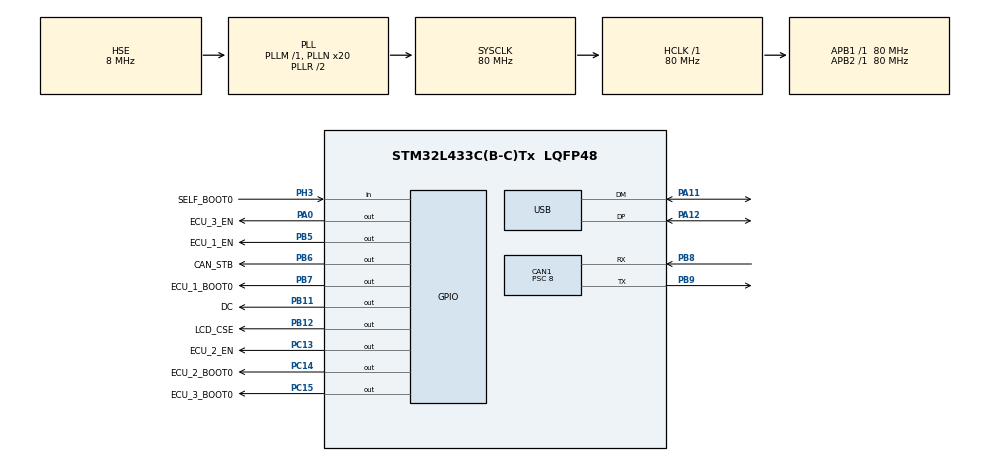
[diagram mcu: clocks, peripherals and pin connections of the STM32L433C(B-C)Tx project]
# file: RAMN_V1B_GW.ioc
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CAN1.BS1=CAN_BS1_11TQ
CAN1.BS2=CAN_BS2_8TQ
CAN1.CalculateTimeQuantum=100.0
CAN1.Mode=CAN_MODE_NORMAL
CAN1.NART=ENABLE
CAN1.Prescaler=8
CAN1.TTCM=DISABLE
FREERTOS.Queues01=queueReceiveUSB,1024,uint8_t,0,Static,queueReceiveUSBBuffer,queueReceiveUSBControlBlock;queueReceiveCAN,128,36,1,Static,queueReceiveBuffer,queueReceiveCANControlBlock;queueSendCAN,128,32,1,Static,queueSendCANBuffer,queueSendCANControlBlock
FREERTOS.Tasks01=receiveCANTask,24,2048,receiveCANFunction,Default,NULL,Static,receiveCANTaskBuffer,receiveCANTaskControlBlock;receiveUSBTask,24,2048,receiveUSBTaskFunction,Default,NULL,Static,receiveUSBTaskBuffer,receiveUSBTaskControlBlock;sendCANTask,40,1024,sendCANFunction,Default,NULL,Static,sendCANTaskBuffer,sendCANTaskControlBlock;periodicTask,40,1024,periodicTaskFunction,Default,NULL,Static,periodicTaskBuffer,periodicTaskControlBlock
FREERTOS.configTOTAL_HEAP_SIZE=10000
Mcu.Family=STM32L4
Mcu.Name=STM32L433C(B-C)Tx
Mcu.Package=LQFP48
NVIC.CAN1_RX0_IRQn=true\:5\:0\:true\:false\:true\:true\:true\:true
NVIC.CAN1_SCE_IRQn=true\:5\:0\:false\:false\:true\:true\:true\:true
NVIC.CAN1_TX_IRQn=true\:5\:0\:false\:false\:true\:true\:true\:true
NVIC.PriorityGroup=NVIC_PRIORITYGROUP_4
NVIC.RNG_IRQn=true\:5\:0\:false\:false\:true\:true\:true\:true
NVIC.TIM1_UP_TIM16_IRQn=true\:0\:0\:false\:false\:true\:false\:false\:true
NVIC.TimeBase=TIM1_UP_TIM16_IRQn
NVIC.TimeBaseIP=TIM1
NVIC.USB_IRQn=true\:6\:0\:true\:false\:true\:true\:false\:true
PA0.GPIO_Label=ECU_3_EN
PA0.Signal=GPIO_Output
PA11.Mode=Device
PA11.Signal=USB_DM
PA12.Mode=Device
PA12.Signal=USB_DP
PA13\ (JTMS-SWDIO).Mode=JTAG_5_pins
PA13\ (JTMS-SWDIO).Signal=SYS_JTMS-SWDIO
PA14\ (JTCK-SWCLK).Mode=JTAG_5_pins
PA14\ (JTCK-SWCLK).Signal=SYS_JTCK-SWCLK
PA15\ (JTDI).Mode=JTAG_5_pins
PA15\ (JTDI).Signal=SYS_JTDI
PB11.GPIO_Label=DC
PB11.Signal=GPIO_Output
PB12.GPIO_Label=LCD_CSE
PB12.Signal=GPIO_Output
PB13.Signal=SPI2_SCK
PB3\ (JTDO-TRACESWO).Mode=JTAG_5_pins
PB3\ (JTDO-TRACESWO).Signal=SYS_JTDO-SWO
PB4\ (NJTRST).Mode=JTAG_5_pins
PB4\ (NJTRST).Signal=SYS_JTRST
PB5.GPIO_Label=ECU_1_EN
PB5.Signal=GPIO_Output
PB6.GPIO_Label=CAN_STB
PB6.Signal=GPIO_Output
PB7.GPIO_Label=ECU_1_BOOT0
PB7.Signal=GPIO_Output
PB8.Mode=Master
PB8.Signal=CAN1_RX
PB9.Mode=Master
PB9.Signal=CAN1_TX
PC13.GPIO_Label=ECU_2_EN
PC13.Signal=GPIO_Output
PC14-OSC32_IN\ (PC14).GPIO_Label=ECU_2_BOOT0
PC14-OSC32_IN\ (PC14).Signal=GPIO_Output
PC15-OSC32_OUT\ (PC15).GPIO_Label=ECU_3_BOOT0
PC15-OSC32_OUT\ (PC15).Signal=GPIO_Output
PH0-OSC_IN\ (PH0).Mode=HSE-External-Oscillator
PH0-OSC_IN\ (PH0).Signal=RCC_OSC_IN
PH1-OSC_OUT\ (PH1).Mode=HSE-External-Oscillator
PH1-OSC_OUT\ (PH1).Signal=RCC_OSC_OUT
PH3-BOOT0.GPIO_Label=SELF_BOOT0
PH3-BOOT0.Signal=GPIO_Input
ProjectManager.HeapSize=0x200
ProjectManager.StackSize=0x400
ProjectManager.TargetToolchain=STM32CubeIDE
RCC.ADCFreq_Value=48000000
RCC.AHBFreq_Value=80000000
RCC.APB1Freq_Value=80000000
RCC.APB1TimFreq_Value=80000000
RCC.APB2Freq_Value=80000000
RCC.APB2TimFreq_Value=80000000
RCC.CortexFreq_Value=80000000
RCC.HCLKFreq_Value=80000000
RCC.HSE_VALUE=8000000
RCC.HSI48_VALUE=48000000
RCC.HSICalibrationValue=16
RCC.HSI_VALUE=16000000
RCC.LSE_VALUE=32768
RCC.MSI_VALUE=4000000
RCC.PLLN=20
RCC.PLLSAI1N=12
RCC.PLLSourceVirtual=RCC_PLLSOURCE_HSE
RCC.SYSCLKFreq_VALUE=80000000
RCC.SYSCLKSource=RCC_SYSCLKSOURCE_PLLCLK
RCC.USBFreq_Value=48000000
RCC.VCOOutputFreq_Value=160000000
USB.low_power_enable=DISABLE
USB_DEVICE.CLASS_NAME_FS=CDC
USB_DEVICE.VirtualMode=Cdc
USB_DEVICE.VirtualModeFS=Cdc_FS
VP_FREERTOS_VS_CMSIS_V2.Mode=CMSIS_V2
VP_RNG_VS_RNG.Mode=RNG_Activate
VP_SYS_VS_tim1.Mode=TIM1
VP_USB_DEVICE_VS_USB_DEVICE_CDC_FS.Mode=CDC_FS
board=custom

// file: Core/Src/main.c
/* USER CODE BEGIN Header */
/**
 ******************************************************************************
 * @file           : main.c
 * @brief          : Main program body
 ******************************************************************************
 * @attention
 *
 * <h2><center>&copy; Copyright (c) 2020 STMicroelectronics.
 * All rights reserved.</center></h2>
 * <h2><center>&copy; Copyright (c) 2020 TOYOTA MOTOR CORPORATION.
 * ALL RIGHTS RESERVED.</center></h2>

 * This software component is licensed by ST under BSD 3-Clause license,
 * the "License"; You may not use this file except in compliance with the
 * License. You may obtain a copy of the License at:
 *                        opensource.org/licenses/BSD-3-Clause
 *
 ******************************************************************************
 */
/* USER CODE END Header */

#include "main.h"
#include "cmsis_os.h"
#include "usb_device.h"

/* USER CODE BEGIN Includes */
#include "usbd_cdc_if.h"
#include <sys/_stdint.h>
#include "task.h"
#include "usbd_cdc.h"
#include "usb_device.h"
/* USER CODE END Includes */

typedef StaticTask_t osStaticThreadDef_t;
typedef StaticQueue_t osStaticMessageQDef_t;
/* USER CODE BEGIN PTD */

typedef struct{
	CAN_RxHeaderTypeDef RxHeader;
	uint8_t data[8];
} rx_msg_t;

typedef struct{
	CAN_TxHeaderTypeDef TxHeader;
	uint8_t data[8];
} tx_msg_t;

/* USER CODE END PTD */

CAN_HandleTypeDef hcan1;

RNG_HandleTypeDef hrng;

/* Definitions for receiveCANTask */
osThreadId_t receiveCANTaskHandle;
uint32_t receiveCANTaskBuffer[ 2048 ];
osStaticThreadDef_t receiveCANTaskControlBlock;
const osThreadAttr_t receiveCANTask_attributes = {
		.name = "receiveCANTask",
		.stack_mem = &receiveCANTaskBuffer[0],
		.stack_size = sizeof(receiveCANTaskBuffer),
		.cb_mem = &receiveCANTaskControlBlock,
		.cb_size = sizeof(receiveCANTaskControlBlock),
		.priority = (osPriority_t) osPriorityNormal,
};
/* Definitions for receiveUSBTask */
osThreadId_t receiveUSBTaskHandle;
uint32_t receiveUSBTaskBuffer[ 2048 ];
osStaticThreadDef_t receiveUSBTaskControlBlock;
const osThreadAttr_t receiveUSBTask_attributes = {
		.name = "receiveUSBTask",
		.stack_mem = &receiveUSBTaskBuffer[0],
		.stack_size = sizeof(receiveUSBTaskBuffer),
		.cb_mem = &receiveUSBTaskControlBlock,
		.cb_size = sizeof(receiveUSBTaskControlBlock),
		.priority = (osPriority_t) osPriorityNormal,
};
/* Definitions for sendCANTask */
osThreadId_t sendCANTaskHandle;
uint32_t sendCANTaskBuffer[ 1024 ];
osStaticThreadDef_t sendCANTaskControlBlock;
const osThreadAttr_t sendCANTask_attributes = {
		.name = "sendCANTask",
		.stack_mem = &sendCANTaskBuffer[0],
		.stack_size = sizeof(sendCANTaskBuffer),
		.cb_mem = &sendCANTaskControlBlock,
		.cb_size = sizeof(sendCANTaskControlBlock),
		.priority = (osPriority_t) osPriorityHigh,
};
/* Definitions for periodicTask */
osThreadId_t periodicTaskHandle;
uint32_t periodicTaskBuffer[ 1024 ];
osStaticThreadDef_t periodicTaskControlBlock;
const osThreadAttr_t periodicTask_attributes = {
		.name = "periodicTask",
		.stack_mem = &periodicTaskBuffer[0],
		.stack_size = sizeof(periodicTaskBuffer),
		.cb_mem = &periodicTaskControlBlock,
		.cb_size = sizeof(periodicTaskControlBlock),
		.priority = (osPriority_t) osPriorityHigh,
};
/* Definitions for queueReceiveUSB */
osMessageQueueId_t queueReceiveUSBHandle;
uint8_t queueReceiveUSBBuffer[ 1024 * sizeof( uint8_t ) ];
osStaticMessageQDef_t queueReceiveUSBControlBlock;
const osMessageQueueAttr_t queueReceiveUSB_attributes = {
		.name = "queueReceiveUSB",
		.cb_mem = &queueReceiveUSBControlBlock,
		.cb_size = sizeof(queueReceiveUSBControlBlock),
		.mq_mem = &queueReceiveUSBBuffer,
		.mq_size = sizeof(queueReceiveUSBBuffer)
};
/* Definitions for queueReceiveCAN */
osMessageQueueId_t queueReceiveCANHandle;
uint8_t queueReceiveBuffer[ 128 * 36 ];
osStaticMessageQDef_t queueReceiveCANControlBlock;
const osMessageQueueAttr_t queueReceiveCAN_attributes = {
		.name = "queueReceiveCAN",
		.cb_mem = &queueReceiveCANControlBlock,
		.cb_size = sizeof(queueReceiveCANControlBlock),
		.mq_mem = &queueReceiveBuffer,
		.mq_size = sizeof(queueReceiveBuffer)
};
/* Definitions for queueSendCAN */
osMessageQueueId_t queueSendCANHandle;
uint8_t queueSendCANBuffer[ 128 * 32 ];
osStaticMessageQDef_t queueSendCANControlBlock;
const osMessageQueueAttr_t queueSendCAN_attributes = {
		.name = "queueSendCAN",
		.cb_mem = &queueSendCANControlBlock,
		.cb_size = sizeof(queueSendCANControlBlock),
		.mq_mem = &queueSendCANBuffer,
		.mq_size = sizeof(queueSendCANBuffer)
};
/* USER CODE BEGIN PV */
CAN_FilterTypeDef  sFilterConfig;

CAN_RxHeaderTypeDef   RxHeader;
uint8_t               RxData[8];
uint32_t              TxMailbox;
#define USB_RECV_BUFFER_SIZE 128
#define USB_SEND_BUFFER_SIZE 128
uint8_t usb_receive_buffer[USB_RECV_BUFFER_SIZE+1];
uint8_t usb_send_buffer[USB_SEND_BUFFER_SIZE+1];
uint8_t receivedBootResponse = 0;

uint8_t CANRxOverflow = 0;
uint8_t selectedBaudrate = 6;

uint8_t slcan_open = 0;
uint8_t carla_active = 0;
uint8_t programming_mode = 0;

tx_msg_t msg1A; //brake
tx_msg_t msg2F; //accel
tx_msg_t msg43; //rpm
tx_msg_t msg58; //steer
tx_msg_t msg6D; //shift
tx_msg_t msgA2; //horn
tx_msg_t msg1C9; //brake
uint16_t lastreadcounter = 0;
uint16_t lastreadcounter_50ms = 0;
uint32_t periodic_counter = 0;
uint32_t periodic_counter50ms = 0;

uint16_t ramn_brake;
uint16_t ramn_accel;
uint16_t ramn_steer;
uint8_t ramn_shift;
uint8_t ramn_horn;
uint8_t ramn_handbrake;

#define NUMBER_OF_PERIODIC_MSG 7
tx_msg_t* periodic_msgs[] = {&msg1A,&msg2F,&msg43,&msg58,&msg6D,&msgA2,&msg1C9};

const uint16_t periodic_msg_ids[NUMBER_OF_PERIODIC_MSG] = {0x1A,0x2F,0x43,0x58,0x6D,0xA2,0x1C9};
uint32_t periodic_msg_random[NUMBER_OF_PERIODIC_MSG] =  {0};
uint32_t rng_counter = 0;

//copied from https://community.st.com/s/question/0D50X00009XkeeW/stm32l476rg-jump-to-bootloader-from-software
typedef void (*pFunction)(void);
pFunction JumpToApplication;
uint32_t JumpAddress;

/* USER CODE END PV */

void SystemClock_Config(void);
static void MX_GPIO_Init(void);
static void MX_CAN1_Init(void);
static void MX_RNG_Init(void);
void receiveCANFunction(void *argument);
void receiveUSBTaskFunction(void *argument);
void sendCANFunction(void *argument);
void periodicTaskFunction(void *argument);

/* USER CODE BEGIN 0 */

// mapping of ASCII characters to hex values
const uint8_t ascii_hashmap[] =
{
		0x00, 0x00, 0x00, 0x00, 0x00, 0x00, 0x00, 0x00, // ........
		0x00, 0x00, 0x00, 0x00, 0x00, 0x00, 0x00, 0x00, // ........
		0x00, 0x00, 0x00, 0x00, 0x00, 0x00, 0x00, 0x00, // ........
		0x00, 0x00, 0x00, 0x00, 0x00, 0x00, 0x00, 0x00, // ........
		0x00, 0x00, 0x00, 0x00, 0x00, 0x00, 0x00, 0x00, //  !"#$%&'
		0x00, 0x00, 0x00, 0x00, 0x00, 0x00, 0x00, 0x00, // ()*+,-./
		0x00, 0x01, 0x02, 0x03, 0x04, 0x05, 0x06, 0x07, // 01234567
		0x08, 0x09, 0x00, 0x00, 0x00, 0x00, 0x00, 0x00, // 89:;<=>?
		0x00, 0x0a, 0x0b, 0x0c, 0x0d, 0x0e, 0x0f, 0x00, // @ABCDEFG
		0x00, 0x00, 0x00, 0x00, 0x00, 0x00, 0x00, 0x00, // HIJKLMNO
		0x00, 0x00, 0x00, 0x00, 0x00, 0x00, 0x00, 0x00, // PQRSTUVW
		0x00, 0x00, 0x00, 0x00, 0x00, 0x00, 0x00, 0x00, // XYZ[\]^_
		0x00, 0x0a, 0x0b, 0x0c, 0x0d, 0x0e, 0x0f, 0x00, // `abcdefg
		0x00, 0x00, 0x00, 0x00, 0x00, 0x00, 0x00, 0x00, // hijklmno
		0x00, 0x00, 0x00, 0x00, 0x00, 0x00, 0x00, 0x00, // pqrstuvw
		0x00, 0x00, 0x00, 0x00, 0x00, 0x00, 0x00, 0x00, // xyz{|}~.
		0x00, 0x00, 0x00, 0x00, 0x00, 0x00, 0x00, 0x00, // ........
		0x00, 0x00, 0x00, 0x00, 0x00, 0x00, 0x00, 0x00, // ........
		0x00, 0x00, 0x00, 0x00, 0x00, 0x00, 0x00, 0x00, // ........
		0x00, 0x00, 0x00, 0x00, 0x00, 0x00, 0x00, 0x00, // ........
		0x00, 0x00, 0x00, 0x00, 0x00, 0x00, 0x00, 0x00, // ........
		0x00, 0x00, 0x00, 0x00, 0x00, 0x00, 0x00, 0x00, // ........
		0x00, 0x00, 0x00, 0x00, 0x00, 0x00, 0x00, 0x00, // ........
		0x00, 0x00, 0x00, 0x00, 0x00, 0x00, 0x00, 0x00, // ........
		0x00, 0x00, 0x00, 0x00, 0x00, 0x00, 0x00, 0x00, // ........
		0x00, 0x00, 0x00, 0x00, 0x00, 0x00, 0x00, 0x00, // ........
		0x00, 0x00, 0x00, 0x00, 0x00, 0x00, 0x00, 0x00, // ........
		0x00, 0x00, 0x00, 0x00, 0x00, 0x00, 0x00, 0x00, // ........
		0x00, 0x00, 0x00, 0x00, 0x00, 0x00, 0x00, 0x00, // ........
		0x00, 0x00, 0x00, 0x00, 0x00, 0x00, 0x00, 0x00, // ........
		0x00, 0x00, 0x00, 0x00, 0x00, 0x00, 0x00, 0x00, // ........
		0x00, 0x00, 0x00, 0x00, 0x00, 0x00, 0x00, 0x00  // ........
};

const uint8_t nibble_to_ascii[] =
{
		'0','1','2','3','4','5','6','7','8','9','A','B','C','D','E','F'
};

void resetCAN()
{
	CANRxOverflow = 0;
	//Update CAN adapter with new baudrate settings
	if (HAL_CAN_Init(&hcan1) != HAL_OK)
	{
		Error_Handler();
	}
	if (HAL_CAN_ConfigFilter(&hcan1, &sFilterConfig) != HAL_OK)
	{
		/* Filter configuration Error */
		Error_Handler();
	}

	/*##-3- Start the CAN peripheral ###########################################*/
	if (HAL_CAN_Start(&hcan1) != HAL_OK)
	{
		/* Start Error */
		Error_Handler();
	}

	/*##-4- Activate CAN RX notification #######################################*/
	if (HAL_CAN_ActivateNotification(&hcan1, CAN_IT_RX_FIFO0_MSG_PENDING) != HAL_OK)
	{
		/* Notification Error */
		Error_Handler();
	}

	//Activate Error Notification
	if (HAL_CAN_ActivateNotification(&hcan1,  CAN_IT_RX_FIFO0_OVERRUN) != HAL_OK)
	{
		/* Notification Error */
		Error_Handler();
	}

	//Activate Transmit Complete Notification

	if (HAL_CAN_ActivateNotification(&hcan1, CAN_IT_TX_MAILBOX_EMPTY) != HAL_OK)
	{
		/* Notification Error */
		Error_Handler();
	}

}

void updateCANBaudrate(uint8_t val)
{
	switch(val)
	{
	case 0:
		hcan1.Init.Prescaler = 400; // 10k
		break;
	case 1:
		hcan1.Init.Prescaler = 200; // 20k
		break;
	case 2:
		hcan1.Init.Prescaler = 80; // 50k
		break;
	case 3:
		hcan1.Init.Prescaler = 40; // 100k
		break;
	case 4:
		hcan1.Init.Prescaler = 32; // 125k
		break;
	case 5:
		hcan1.Init.Prescaler = 16; // 250k
		break;
	case 6:
		hcan1.Init.Prescaler = 8; // 500k
		break;
	case 7:
		hcan1.Init.Prescaler = 5; // 800k
		break;
	case 8:
		hcan1.Init.Prescaler = 4; // 1MHz
		break;
	default:
		//keep 32 divider (125k, same as STM32 CAN Bootloader) as default
		hcan1.Init.Prescaler = 32;
		break;
	}
	resetCAN();
}
/* USER CODE END 0 */

int main(void)
{

	/* MCU Configuration--------------------------------------------------------*/

	/* Reset of all peripherals, Initializes the Flash interface and the Systick. */
	HAL_Init();

	/* Configure the system clock */
	SystemClock_Config();

	/* Initialize all configured peripherals */
	MX_GPIO_Init();
	MX_CAN1_Init();
	MX_RNG_Init();
	/* USER CODE BEGIN 2 */

	//set the ID to 0 to prevent thread from sending them
	for(uint8_t i = 0; i < NUMBER_OF_PERIODIC_MSG; i++)
	{
		//periodic_msgs[i]->TxHeader.StdId = 0;
		periodic_msgs[i]->TxHeader.StdId = periodic_msg_ids[i];
		periodic_msgs[i]->TxHeader.ExtId = 0x00;
		periodic_msgs[i]->TxHeader.RTR = CAN_RTR_DATA;
		periodic_msgs[i]->TxHeader.IDE = CAN_ID_STD;
		periodic_msgs[i]->TxHeader.DLC = 8;
		memset(periodic_msgs[i]->data,0,8);
		periodic_msgs[i]->TxHeader.TransmitGlobalTime = DISABLE;
	}
	//Set B00T0 to 0 (i.e. let it boot from flash memory)
	HAL_GPIO_WritePin(ECU_1_BOOT0_GPIO_Port, ECU_1_BOOT0_Pin,GPIO_PIN_RESET);
	HAL_GPIO_WritePin(ECU_2_BOOT0_GPIO_Port, ECU_2_BOOT0_Pin,GPIO_PIN_RESET);
	HAL_GPIO_WritePin(ECU_3_BOOT0_GPIO_Port, ECU_3_BOOT0_Pin,GPIO_PIN_RESET);

	//Enable the power supplies of the other ECUs
	//(Voltage >1.2V to enable)
	HAL_GPIO_WritePin(ECU_1_EN_GPIO_Port, ECU_1_EN_Pin,GPIO_PIN_SET);
	HAL_GPIO_WritePin(ECU_2_EN_GPIO_Port, ECU_2_EN_Pin,GPIO_PIN_SET);
	HAL_GPIO_WritePin(ECU_3_EN_GPIO_Port, ECU_3_EN_Pin,GPIO_PIN_SET);

	// Pull STBY line of CAN transceiver low (high = transceiver OFF)
	HAL_GPIO_WritePin(CAN_STB_GPIO_Port, CAN_STB_Pin, GPIO_PIN_RESET);

	/* USER CODE END 2 */

	/* Init scheduler */
	osKernelInitialize();

	/* Create the queue(s) */
	/* creation of queueReceiveUSB */
	queueReceiveUSBHandle = osMessageQueueNew (1024, sizeof(uint8_t), &queueReceiveUSB_attributes);

	/* creation of queueReceiveCAN */
	queueReceiveCANHandle = osMessageQueueNew (128, 36, &queueReceiveCAN_attributes);

	/* creation of queueSendCAN */
	queueSendCANHandle = osMessageQueueNew (128, 32, &queueSendCAN_attributes);

	/* USER CODE BEGIN RTOS_QUEUES */
	USBD_Queue_UsbRx = queueReceiveUSBHandle;
	/* USER CODE END RTOS_QUEUES */

	/* Create the thread(s) */
	/* creation of receiveCANTask */
	receiveCANTaskHandle = osThreadNew(receiveCANFunction, NULL, &receiveCANTask_attributes);

	/* creation of receiveUSBTask */
	receiveUSBTaskHandle = osThreadNew(receiveUSBTaskFunction, NULL, &receiveUSBTask_attributes);

	/* creation of sendCANTask */
	sendCANTaskHandle = osThreadNew(sendCANFunction, NULL, &sendCANTask_attributes);

	/* creation of periodicTask */
	periodicTaskHandle = osThreadNew(periodicTaskFunction, NULL, &periodicTask_attributes);

	/* USER CODE BEGIN RTOS_THREADS */
	/* add threads, ... */
	//start first occurence of random numbers
	rng_counter = 0;
	if (HAL_RNG_GenerateRandomNumber_IT(&hrng) != HAL_OK)
	{
		/* RNG peripheral start-up error */
		Error_Handler();
	}
	/* USER CODE END RTOS_THREADS */

	/* Start scheduler */
	osKernelStart();

	/* We should never get here as control is now taken by the scheduler */
	/* Infinite loop */
	while (1)
	{

	}
}

void SystemClock_Config(void)
{
	RCC_OscInitTypeDef RCC_OscInitStruct = {0};
	RCC_ClkInitTypeDef RCC_ClkInitStruct = {0};
	RCC_PeriphCLKInitTypeDef PeriphClkInit = {0};

	/** Initializes the CPU, AHB and APB busses clocks
	 */
	RCC_OscInitStruct.OscillatorType = RCC_OSCILLATORTYPE_HSE;
	RCC_OscInitStruct.HSEState = RCC_HSE_ON;
	RCC_OscInitStruct.PLL.PLLState = RCC_PLL_ON;
	RCC_OscInitStruct.PLL.PLLSource = RCC_PLLSOURCE_HSE;
	RCC_OscInitStruct.PLL.PLLM = 1;
	RCC_OscInitStruct.PLL.PLLN = 20;
	RCC_OscInitStruct.PLL.PLLP = RCC_PLLP_DIV7;
	RCC_OscInitStruct.PLL.PLLQ = RCC_PLLQ_DIV2;
	RCC_OscInitStruct.PLL.PLLR = RCC_PLLR_DIV2;
	if (HAL_RCC_OscConfig(&RCC_OscInitStruct) != HAL_OK)
	{
		Error_Handler();
	}
	/** Initializes the CPU, AHB and APB busses clocks
	 */
	RCC_ClkInitStruct.ClockType = RCC_CLOCKTYPE_HCLK|RCC_CLOCKTYPE_SYSCLK
			|RCC_CLOCKTYPE_PCLK1|RCC_CLOCKTYPE_PCLK2;
	RCC_ClkInitStruct.SYSCLKSource = RCC_SYSCLKSOURCE_PLLCLK;
	RCC_ClkInitStruct.AHBCLKDivider = RCC_SYSCLK_DIV1;
	RCC_ClkInitStruct.APB1CLKDivider = RCC_HCLK_DIV1;
	RCC_ClkInitStruct.APB2CLKDivider = RCC_HCLK_DIV1;

	if (HAL_RCC_ClockConfig(&RCC_ClkInitStruct, FLASH_LATENCY_4) != HAL_OK)
	{
		Error_Handler();
	}
	PeriphClkInit.PeriphClockSelection = RCC_PERIPHCLK_USB|RCC_PERIPHCLK_RNG;
	PeriphClkInit.UsbClockSelection = RCC_USBCLKSOURCE_PLLSAI1;
	PeriphClkInit.RngClockSelection = RCC_RNGCLKSOURCE_PLLSAI1;
	PeriphClkInit.PLLSAI1.PLLSAI1Source = RCC_PLLSOURCE_HSE;
	PeriphClkInit.PLLSAI1.PLLSAI1M = 1;
	PeriphClkInit.PLLSAI1.PLLSAI1N = 12;
	PeriphClkInit.PLLSAI1.PLLSAI1P = RCC_PLLP_DIV7;
	PeriphClkInit.PLLSAI1.PLLSAI1Q = RCC_PLLQ_DIV2;
	PeriphClkInit.PLLSAI1.PLLSAI1R = RCC_PLLR_DIV2;
	PeriphClkInit.PLLSAI1.PLLSAI1ClockOut = RCC_PLLSAI1_48M2CLK;
	if (HAL_RCCEx_PeriphCLKConfig(&PeriphClkInit) != HAL_OK)
	{
		Error_Handler();
	}
	/** Configure the main internal regulator output voltage
	 */
	if (HAL_PWREx_ControlVoltageScaling(PWR_REGULATOR_VOLTAGE_SCALE1) != HAL_OK)
	{
		Error_Handler();
	}
}

static void MX_CAN1_Init(void)
{

	hcan1.Instance = CAN1;
	hcan1.Init.Prescaler = 8;
	hcan1.Init.Mode = CAN_MODE_NORMAL;
	hcan1.Init.SyncJumpWidth = CAN_SJW_1TQ;
	hcan1.Init.TimeSeg1 = CAN_BS1_11TQ;
	hcan1.Init.TimeSeg2 = CAN_BS2_8TQ;
	hcan1.Init.TimeTriggeredMode = DISABLE;
	hcan1.Init.AutoBusOff = DISABLE;
	hcan1.Init.AutoWakeUp = DISABLE;
	hcan1.Init.AutoRetransmission = ENABLE;
	hcan1.Init.ReceiveFifoLocked = DISABLE;
	hcan1.Init.TransmitFifoPriority = DISABLE;
	if (HAL_CAN_Init(&hcan1) != HAL_OK)
	{
		Error_Handler();
	}
	/* USER CODE BEGIN CAN1_Init 2 */
	/*##-2- Configure the CAN Filter ###########################################*/
	sFilterConfig.FilterBank = 0;
	sFilterConfig.FilterMode = CAN_FILTERMODE_IDMASK;
	sFilterConfig.FilterScale = CAN_FILTERSCALE_32BIT;
	sFilterConfig.FilterIdHigh = 0x0000;
	sFilterConfig.FilterIdLow = 0x0000;
	sFilterConfig.FilterMaskIdHigh = 0x0000;
	sFilterConfig.FilterMaskIdLow = 0x0000;
	//sFilterConfig.FilterMaskIdLow = 0xFE00; //for CARLA
	sFilterConfig.FilterFIFOAssignment = CAN_RX_FIFO0;
	sFilterConfig.FilterActivation = ENABLE;
	sFilterConfig.SlaveStartFilterBank = 14;

	resetCAN();
	/* USER CODE END CAN1_Init 2 */

}

static void MX_RNG_Init(void)
{

	hrng.Instance = RNG;
	if (HAL_RNG_Init(&hrng) != HAL_OK)
	{
		Error_Handler();
	}

}

static void MX_GPIO_Init(void)
{
	GPIO_InitTypeDef GPIO_InitStruct = {0};

	/* GPIO Ports Clock Enable */
	__HAL_RCC_GPIOC_CLK_ENABLE();
	__HAL_RCC_GPIOH_CLK_ENABLE();
	__HAL_RCC_GPIOA_CLK_ENABLE();
	__HAL_RCC_GPIOB_CLK_ENABLE();

	/*Configure GPIO pin Output Level */
	HAL_GPIO_WritePin(GPIOC, ECU_2_EN_Pin|ECU_2_BOOT0_Pin|ECU_3_BOOT0_Pin, GPIO_PIN_RESET);

	/*Configure GPIO pin Output Level */
	HAL_GPIO_WritePin(ECU_3_EN_GPIO_Port, ECU_3_EN_Pin, GPIO_PIN_RESET);

	/*Configure GPIO pin Output Level */
	HAL_GPIO_WritePin(GPIOB, DC_Pin|LCD_CSE_Pin|ECU_1_EN_Pin|CAN_STB_Pin
			|ECU_1_BOOT0_Pin, GPIO_PIN_RESET);

	/*Configure GPIO pins : ECU_2_EN_Pin ECU_2_BOOT0_Pin ECU_3_BOOT0_Pin */
	GPIO_InitStruct.Pin = ECU_2_EN_Pin|ECU_2_BOOT0_Pin|ECU_3_BOOT0_Pin;
	GPIO_InitStruct.Mode = GPIO_MODE_OUTPUT_PP;
	GPIO_InitStruct.Pull = GPIO_NOPULL;
	GPIO_InitStruct.Speed = GPIO_SPEED_FREQ_LOW;
	HAL_GPIO_Init(GPIOC, &GPIO_InitStruct);

	/*Configure GPIO pin : ECU_3_EN_Pin */
	GPIO_InitStruct.Pin = ECU_3_EN_Pin;
	GPIO_InitStruct.Mode = GPIO_MODE_OUTPUT_PP;
	GPIO_InitStruct.Pull = GPIO_NOPULL;
	GPIO_InitStruct.Speed = GPIO_SPEED_FREQ_LOW;
	HAL_GPIO_Init(ECU_3_EN_GPIO_Port, &GPIO_InitStruct);

	/*Configure GPIO pins : DC_Pin LCD_CSE_Pin ECU_1_EN_Pin CAN_STB_Pin
                           ECU_1_BOOT0_Pin */
	GPIO_InitStruct.Pin = DC_Pin|LCD_CSE_Pin|ECU_1_EN_Pin|CAN_STB_Pin
			|ECU_1_BOOT0_Pin;
	GPIO_InitStruct.Mode = GPIO_MODE_OUTPUT_PP;
	GPIO_InitStruct.Pull = GPIO_NOPULL;
	GPIO_InitStruct.Speed = GPIO_SPEED_FREQ_LOW;
	HAL_GPIO_Init(GPIOB, &GPIO_InitStruct);

	/*Configure GPIO pin : PB13 */
	GPIO_InitStruct.Pin = GPIO_PIN_13;
	GPIO_InitStruct.Mode = GPIO_MODE_AF_PP;
	GPIO_InitStruct.Pull = GPIO_NOPULL;
	GPIO_InitStruct.Speed = GPIO_SPEED_FREQ_VERY_HIGH;
	GPIO_InitStruct.Alternate = GPIO_AF5_SPI2;
	HAL_GPIO_Init(GPIOB, &GPIO_InitStruct);

	/*Configure GPIO pin : SELF_BOOT0_Pin */
	GPIO_InitStruct.Pin = SELF_BOOT0_Pin;
	GPIO_InitStruct.Mode = GPIO_MODE_INPUT;
	GPIO_InitStruct.Pull = GPIO_NOPULL;
	HAL_GPIO_Init(SELF_BOOT0_GPIO_Port, &GPIO_InitStruct);

}

/* USER CODE BEGIN 4 */
/**
 * @brief  Rx Fifo 0 message pending callback
 * @param  hcan: pointer to a CAN_HandleTypeDef structure that contains
 *         the configuration information for the specified CAN.
 * @retval None
 */
void HAL_CAN_RxFifo0MsgPendingCallback(CAN_HandleTypeDef *hcan)
{
	BaseType_t xHigherPriorityTaskWoken = pdFALSE;
	/* Get RX message */
	if (HAL_CAN_GetRxMessage(hcan, CAN_RX_FIFO0, &RxHeader, RxData) != HAL_OK)
	{
		/* Reception Error */
		Error_Handler();
	}
	rx_msg_t msg;
	msg.RxHeader = RxHeader;
	memcpy(msg.data,RxData,RxHeader.DLC);
	xQueueSendFromISR(queueReceiveCANHandle,&msg,&xHigherPriorityTaskWoken);
	portYIELD_FROM_ISR( xHigherPriorityTaskWoken );
}

void HAL_CAN_TxMailbox0CompleteCallback(CAN_HandleTypeDef *hcan)
{
	BaseType_t xHigherPriorityTaskWoken = pdFALSE;
	vTaskNotifyGiveFromISR(sendCANTaskHandle,&xHigherPriorityTaskWoken);
	portYIELD_FROM_ISR( xHigherPriorityTaskWoken );
}

void HAL_CAN_TxMailbox1CompleteCallback(CAN_HandleTypeDef *hcan)
{
	BaseType_t xHigherPriorityTaskWoken = pdFALSE;
	vTaskNotifyGiveFromISR(sendCANTaskHandle,&xHigherPriorityTaskWoken);
	portYIELD_FROM_ISR( xHigherPriorityTaskWoken );
}

void HAL_CAN_TxMailbox2CompleteCallback(CAN_HandleTypeDef *hcan)
{
	BaseType_t xHigherPriorityTaskWoken = pdFALSE;
	vTaskNotifyGiveFromISR(sendCANTaskHandle,&xHigherPriorityTaskWoken);
	portYIELD_FROM_ISR( xHigherPriorityTaskWoken );
}

void HAL_CAN_ErrorCallback(CAN_HandleTypeDef *hcan)
{
	uint32_t err = HAL_CAN_GetError(hcan);
	if ((err & (HAL_CAN_ERROR_TX_ALST0 | HAL_CAN_ERROR_TX_TERR0)) != 0)
	{
		//Error in Mailbox 0
		//HAL_CAN_AbortTxRequest(hcan,CAN_TX_MAILBOX0);
	}
	if ((err & (HAL_CAN_ERROR_TX_ALST1 | HAL_CAN_ERROR_TX_TERR1)) != 0)
	{
		//Error in Mailbox 1
		//HAL_CAN_AbortTxRequest(hcan,CAN_TX_MAILBOX1);
	}
	if ((err & (HAL_CAN_ERROR_TX_ALST2 | HAL_CAN_ERROR_TX_TERR2)) != 0)
	{
		//Error in Mailbox 2
		//HAL_CAN_AbortTxRequest(hcan,CAN_TX_MAILBOX2);
	}
	if ((err & ( HAL_CAN_ERROR_RX_FOV0)) != 0)
	{
		//Receive FIFO0  overrun
		CANRxOverflow = 1;
	}
	if ((err & ( HAL_CAN_ERROR_RX_FOV1)) != 0)
	{
		//Receive FIFO1 overrun
		//CANRxOverflow = 1;
	}
	if ((err & (HAL_CAN_ERROR_EWG|HAL_CAN_ERROR_EPV|HAL_CAN_ERROR_BOF|HAL_CAN_ERROR_STF|HAL_CAN_ERROR_FOR|HAL_CAN_ERROR_BR|HAL_CAN_ERROR_BD|HAL_CAN_ERROR_CRC)) != 0)
	{
		//Problem with frames
		//HAL_CAN_AbortTxRequest(hcan,CAN_TX_MAILBOX2);
	}
	if ((err & HAL_CAN_ERROR_ACK) != 0)
	{
		//No acknowledgement
	}
	HAL_CAN_ResetError(hcan);
}

void HAL_RNG_ReadyDataCallback(RNG_HandleTypeDef* hrng, uint32_t random32bit)
{

	/* Straight random number retrieval */

	periodic_msg_random[rng_counter] = random32bit;

	rng_counter++;

	/* HAL_RNG_IRQHandler() disables IT at each interruption,
     so, need to re-enable IT in callback to get several random numbers in a row */
	if (rng_counter < NUMBER_OF_PERIODIC_MSG)
	{
		HAL_RNG_GenerateRandomNumber_IT(hrng);
	}

}
/* USER CODE END 4 */

void receiveCANFunction(void *argument)
{
	/* init code for USB_DEVICE */
	MX_USB_DEVICE_Init();
	/* USER CODE BEGIN 5 */
	/* Infinite loop */
	for(;;)
	{
		rx_msg_t msg;
		{
			/* Get RX message */
			if (xQueueReceive(queueReceiveCANHandle,&msg,1000) == pdPASS)
			{
				switch(msg.RxHeader.StdId)
				{
				case 0x24:
					ramn_brake = (msg.data[0] << 8) + msg.data[1];
					lastreadcounter = (msg.data[2]<<8) + msg.data[3];
					break;
				case 0x39:
					ramn_accel = (msg.data[0] << 8) + msg.data[1];
					break;
				case 0x62:
					ramn_steer = (msg.data[0] << 8) + msg.data[1];
					break;
				case 0x77:
					ramn_shift = msg.data[0];
					break;
				case 0x98:
					ramn_horn = msg.data[0];
					break;
				case 0x1D3:
					ramn_handbrake = msg.data[0];
					lastreadcounter_50ms =(msg.data[2]<<8) + msg.data[3];
					break;
				}

				if (slcan_open)
				{
					//Only deal with messages with less than 8 bytes, as they should be for CAN
					if (msg.RxHeader.StdId == 0x79)
					{
						receivedBootResponse = 1;
					}
					if(msg.RxHeader.DLC <= 8)
					{
						usb_send_buffer[0] = 't';
						usb_send_buffer[1] = nibble_to_ascii[(msg.RxHeader.StdId >> 8) & 0xF];
						usb_send_buffer[2] = nibble_to_ascii[(msg.RxHeader.StdId >> 4) & 0xF];
						usb_send_buffer[3] = nibble_to_ascii[msg.RxHeader.StdId & 0xF];
						usb_send_buffer[4] = nibble_to_ascii[msg.RxHeader.DLC & 0xF];
						for(uint8_t i=0;i<msg.RxHeader.DLC;i++)
						{
							usb_send_buffer[5+2*i] = nibble_to_ascii[(msg.data[i] >> 4) & 0xF];
							usb_send_buffer[6+2*i] = nibble_to_ascii[msg.data[i] & 0xF];
						}
						usb_send_buffer[5+2*msg.RxHeader.DLC] = '\r';
						usb_send_buffer[6+2*msg.RxHeader.DLC] = '\0';

						while(CDC_Transmit_FS((uint8_t*)usb_send_buffer,6+2*msg.RxHeader.DLC) == USBD_BUSY)
						{
							taskYIELD(); // //sending over usb takes time, so yield to others
						}

					}
				}
			}

		}

	}
	/* USER CODE END 5 */
}

void receiveUSBTaskFunction(void *argument)
{
	/* USER CODE BEGIN receiveUSBTaskFunction */
	/* Infinite loop */
	uint8_t val = 0;
	uint8_t n = 0;
	uint32_t counter = 0;
	/*##-5- Configure Transmission process #####################################*/
	tx_msg_t msg;
	msg.TxHeader.StdId = 0x00;
	msg.TxHeader.ExtId = 0x00;
	msg.TxHeader.RTR = CAN_RTR_DATA;
	msg.TxHeader.IDE = CAN_ID_STD;
	msg.TxHeader.DLC = 0;
	msg.TxHeader.TransmitGlobalTime = DISABLE;

	for(;;)
	{
		if (xQueueReceive(queueReceiveUSBHandle, &val, 1000) == pdPASS)
		{
			//Process USB Message
			usb_receive_buffer[n] = val;
			if (n < USB_RECV_BUFFER_SIZE)	{
				n++;
			}
			//Wait for end of command character
			if(val == '\r')
			{
				uint8_t command = usb_receive_buffer[0];

				switch(command)
				{
				case 'r':
				case 't':
					msg.TxHeader.IDE = CAN_ID_STD;
					msg.TxHeader.DLC = (usb_receive_buffer[4] - '0');  //convert the 1 ASCII numeral to uint8_t directly
					msg.TxHeader.StdId = (ascii_hashmap[usb_receive_buffer[1]] << 8) + (ascii_hashmap[usb_receive_buffer[2]] << 4) + (ascii_hashmap[usb_receive_buffer[3]]);
					if(command == 'r')
					{
						msg.TxHeader.RTR = CAN_RTR_REMOTE;
					}
					else
					{
						msg.TxHeader.RTR = CAN_RTR_DATA;
						for(uint8_t i=0; i < (msg.TxHeader.DLC); i++)
						{
							msg.data[i] = (ascii_hashmap[usb_receive_buffer[5+(i*2)]] << 4) + (ascii_hashmap[usb_receive_buffer[6+(i*2)]]);
						}
					}
					//CDC_Transmit_FS((uint8_t*)"\r",1);

					if (xQueueSend(queueSendCANHandle,&msg,0) == pdPASS)
					{
						if(programming_mode) CDC_Transmit_FS((uint8_t*)"\r",1);
					}
					else
					{
						//queue likely full, send NACK
						//CDC_Transmit_FS((uint8_t*)"\a",1);
					}

					break;

				case 'R':
				case 'T':

					msg.TxHeader.IDE = CAN_ID_EXT;
					msg.TxHeader.DLC = (usb_receive_buffer[9] - '0');  //convert the 1 ASCII numeral to uint8_t directly
					usb_receive_buffer[9] = 0; 				       //Overwrite the dlc field by 0 to create a null-terminated CAN ID string
					//msg.TxHeader.ExtId = strtol((uint8_t*)&usb_receive_buffer[1],NULL,16);
					msg.TxHeader.ExtId = (ascii_hashmap[usb_receive_buffer[1]] << 28)  + (ascii_hashmap[usb_receive_buffer[2]] << 24) + (ascii_hashmap[usb_receive_buffer[3]] << 20)  + (ascii_hashmap[usb_receive_buffer[4]] << 16)  + (ascii_hashmap[usb_receive_buffer[5]] << 12)  + (ascii_hashmap[usb_receive_buffer[6]] << 8) + (ascii_hashmap[usb_receive_buffer[7]] << 4) + (ascii_hashmap[usb_receive_buffer[8]]);
					if(command == 'R')
					{
						msg.TxHeader.RTR = CAN_RTR_REMOTE;
					}
					else
					{
						msg.TxHeader.RTR = CAN_RTR_DATA;
						for(uint8_t i=0; i < (msg.TxHeader.DLC); i++)
						{
							msg.data[i] = (ascii_hashmap[usb_receive_buffer[10+(i*2)]] << 4) + (ascii_hashmap[usb_receive_buffer[11+(i*2)]]);
						}
					}

					if (xQueueSend(queueSendCANHandle,&msg,0) == pdPASS)
					{
						//success, send ACK
						//CDC_Transmit_FS((uint8_t*)"\r",1);
					}
					else
					{
						//queue likely full, send NACK
						//CDC_Transmit_FS((uint8_t*)"\a",1);
					}

					break;

				case 'V':
					CDC_Transmit_FS((uint8_t*)"RAMN v1.0BETA\r",14);
					break;

				case 'S':
					usb_receive_buffer[2] = 0;
					selectedBaudrate = ascii_hashmap[usb_receive_buffer[1]];
					updateCANBaudrate(selectedBaudrate);
					CDC_Transmit_FS((uint8_t*)"\r",1);
					break;

				case 'O':
					hcan1.Init.Mode = CAN_MODE_NORMAL;
					slcan_open = 1;
					resetCAN();
					CDC_Transmit_FS((uint8_t*)"\r",1);
					break;
				case 'o':
					//Command to turn off ECUs
					switch(usb_receive_buffer[1])
					{
					case 'C':
						HAL_GPIO_WritePin(ECU_2_EN_GPIO_Port, ECU_2_EN_Pin,GPIO_PIN_RESET);
						break;
					case 'D':
						HAL_GPIO_WritePin(ECU_3_EN_GPIO_Port, ECU_3_EN_Pin,GPIO_PIN_RESET);
						break;
					case 'B':
						HAL_GPIO_WritePin(ECU_1_EN_GPIO_Port, ECU_1_EN_Pin,GPIO_PIN_RESET);
						break;
					default:
						HAL_GPIO_WritePin(ECU_1_EN_GPIO_Port, ECU_1_EN_Pin,GPIO_PIN_RESET);
						HAL_GPIO_WritePin(ECU_2_EN_GPIO_Port, ECU_2_EN_Pin,GPIO_PIN_RESET);
						HAL_GPIO_WritePin(ECU_3_EN_GPIO_Port, ECU_3_EN_Pin,GPIO_PIN_RESET);
						break;
					}

					CDC_Transmit_FS((uint8_t*)"\r",1);
					break;
					case 'd':
						//Command to turn on ECU B and C only
						HAL_GPIO_WritePin(ECU_1_EN_GPIO_Port, ECU_1_EN_Pin,GPIO_PIN_SET);
						HAL_GPIO_WritePin(ECU_2_EN_GPIO_Port, ECU_2_EN_Pin,GPIO_PIN_SET);
						CDC_Transmit_FS((uint8_t*)"\r",1);
						break;
					case 'e':
						//Command to turn on specified USB
						switch(usb_receive_buffer[1])
						{
						case 'C':
							HAL_GPIO_WritePin(ECU_2_EN_GPIO_Port, ECU_2_EN_Pin,GPIO_PIN_SET);
							break;
						case 'D':
							HAL_GPIO_WritePin(ECU_3_EN_GPIO_Port, ECU_3_EN_Pin,GPIO_PIN_SET);
							break;
						case 'B':
							HAL_GPIO_WritePin(ECU_1_EN_GPIO_Port, ECU_1_EN_Pin,GPIO_PIN_SET);
							break;
						default:
							HAL_GPIO_WritePin(ECU_1_EN_GPIO_Port, ECU_1_EN_Pin,GPIO_PIN_SET);
							HAL_GPIO_WritePin(ECU_2_EN_GPIO_Port, ECU_2_EN_Pin,GPIO_PIN_SET);
							HAL_GPIO_WritePin(ECU_3_EN_GPIO_Port, ECU_3_EN_Pin,GPIO_PIN_SET);
							break;
						}

						CDC_Transmit_FS((uint8_t*)"\r",1);
						break;

						case 'L':
							CDC_Transmit_FS((uint8_t*)"\r",1);
							hcan1.Init.Mode = CAN_MODE_SILENT;
							slcan_open = 1;
							resetCAN();
							break;
						case 'c':
							CDC_Transmit_FS((uint8_t*)"\r",1);
							hcan1.Init.Mode = CAN_MODE_NORMAL;
							carla_active = 1;
							resetCAN();
							//Set counter to last read counter
							periodic_counter = lastreadcounter;
							periodic_counter50ms = lastreadcounter_50ms;
							vTaskResume(periodicTaskHandle);
							break;
						case 'u':
							//format is u<brake16><accel16><rpm16><steer16><shift8><horn8><handbrake8>
							//eg "u{:04x}{:04x}{:04x}{:04x}{:02x}{:02x}{:02x}\r"
							msg1A.data[0] = (ascii_hashmap[usb_receive_buffer[1]] << 4) + (ascii_hashmap[usb_receive_buffer[2]]);
							msg1A.data[1] = (ascii_hashmap[usb_receive_buffer[3]] << 4) + (ascii_hashmap[usb_receive_buffer[4]]);

							msg2F.data[0] = (ascii_hashmap[usb_receive_buffer[5]] << 4) + (ascii_hashmap[usb_receive_buffer[6]]);
							msg2F.data[1] = (ascii_hashmap[usb_receive_buffer[7]] << 4) + (ascii_hashmap[usb_receive_buffer[8]]);

							msg43.data[0] = (ascii_hashmap[usb_receive_buffer[9]] << 4) + (ascii_hashmap[usb_receive_buffer[10]]);
							msg43.data[1] = (ascii_hashmap[usb_receive_buffer[11]] << 4) + (ascii_hashmap[usb_receive_buffer[12]]);

							msg58.data[0] = (ascii_hashmap[usb_receive_buffer[13]] << 4) + (ascii_hashmap[usb_receive_buffer[14]]);
							msg58.data[1] = (ascii_hashmap[usb_receive_buffer[15]] << 4) + (ascii_hashmap[usb_receive_buffer[16]]);

							msg6D.data[0] = (ascii_hashmap[usb_receive_buffer[17]] << 4) + (ascii_hashmap[usb_receive_buffer[18]]);
							msgA2.data[0] = (ascii_hashmap[usb_receive_buffer[19]] << 4) + (ascii_hashmap[usb_receive_buffer[20]]);
							msg1C9.data[0] = (ascii_hashmap[usb_receive_buffer[21]] << 4) + (ascii_hashmap[usb_receive_buffer[22]]);
							break;

						case 'x':
							vTaskSuspend(periodicTaskHandle);
							carla_active = 0;
							CDC_Transmit_FS((uint8_t*)"\r",1);
						case 'C':
							slcan_open = 0;
							CDC_Transmit_FS((uint8_t*)"\r",1);
							break;

						case 'N':
							CDC_Transmit_FS((uint8_t*)"0000111122223333\r",17);
							break;

						case 'n':
							//Command to restart the board
							programming_mode = 0;
							HAL_GPIO_WritePin(ECU_1_EN_GPIO_Port, ECU_1_EN_Pin,GPIO_PIN_RESET);
							HAL_GPIO_WritePin(ECU_2_EN_GPIO_Port, ECU_2_EN_Pin,GPIO_PIN_RESET);
							HAL_GPIO_WritePin(ECU_3_EN_GPIO_Port, ECU_3_EN_Pin,GPIO_PIN_RESET);
							HAL_GPIO_WritePin(ECU_1_BOOT0_GPIO_Port, ECU_1_BOOT0_Pin,GPIO_PIN_RESET);
							HAL_GPIO_WritePin(ECU_2_BOOT0_GPIO_Port, ECU_2_BOOT0_Pin,GPIO_PIN_RESET);
							HAL_GPIO_WritePin(ECU_3_BOOT0_GPIO_Port, ECU_3_BOOT0_Pin,GPIO_PIN_RESET);
							//updateCANBaudrate(selectedBaudrate);
							//Turn Off slcan feature
							//slcan_open = 0;
							osDelay(100);

							//HAL_GPIO_WritePin(ECU_1_EN_GPIO_Port, ECU_1_EN_Pin,GPIO_PIN_SET);
							//HAL_GPIO_WritePin(ECU_2_EN_GPIO_Port, ECU_2_EN_Pin,GPIO_PIN_SET);
							//HAL_GPIO_WritePin(ECU_3_EN_GPIO_Port, ECU_3_EN_Pin,GPIO_PIN_SET);

							HAL_NVIC_SystemReset();
							break;

						case 'p':
							programming_mode = 1;
							slcan_open = 1;
							//turn off all ECUs
							HAL_GPIO_WritePin(ECU_1_EN_GPIO_Port, ECU_1_EN_Pin,GPIO_PIN_RESET);
							HAL_GPIO_WritePin(ECU_2_EN_GPIO_Port, ECU_2_EN_Pin,GPIO_PIN_RESET);
							HAL_GPIO_WritePin(ECU_3_EN_GPIO_Port, ECU_3_EN_Pin,GPIO_PIN_RESET);
							//make sure we are in open slcan mode
							updateCANBaudrate(4); //Bootloader default is 125kb
							receivedBootResponse = 0;
							osDelay(100);
							counter = 0;
							switch(usb_receive_buffer[1])
							{
							default:
								break;
							case 'B':
								HAL_GPIO_WritePin(ECU_1_BOOT0_GPIO_Port, ECU_1_BOOT0_Pin,GPIO_PIN_SET);
								HAL_GPIO_WritePin(ECU_1_EN_GPIO_Port, ECU_1_EN_Pin,GPIO_PIN_SET);
								break;
							case 'C':
								HAL_GPIO_WritePin(ECU_2_BOOT0_GPIO_Port, ECU_2_BOOT0_Pin,GPIO_PIN_SET);
								HAL_GPIO_WritePin(ECU_2_EN_GPIO_Port, ECU_2_EN_Pin,GPIO_PIN_SET);
								break;
							case 'D':
								HAL_GPIO_WritePin(ECU_3_BOOT0_GPIO_Port, ECU_3_BOOT0_Pin,GPIO_PIN_SET);
								HAL_GPIO_WritePin(ECU_3_EN_GPIO_Port, ECU_3_EN_Pin,GPIO_PIN_SET);
								break;
							}

							while(counter < 20)
							{
								//Send bootloader requests until answer from target ECU
								msg.TxHeader.ExtId = 0x01;
								msg.TxHeader.RTR = CAN_RTR_DATA;
								msg.TxHeader.IDE = CAN_ID_STD;
								msg.TxHeader.DLC = 0;
								msg.TxHeader.StdId = 0x79;
								while(xQueueSend(queueSendCANHandle,&msg,0) != pdPASS);
								//HAL_CAN_AddTxMessage(&hcan1, &TxHeader, TxData, &TxMailbox);
								osDelay(100);
								counter++;
								//add timeout
								if(receivedBootResponse) break;
							}
							CDC_Transmit_FS((uint8_t*)"\r",1);
							break;
							case 'b':
								HAL_RCC_DeInit();
								SysTick->CTRL = 0;
								SysTick->LOAD = 0;
								SysTick->VAL = 0;
								/** * Step: Disable all interrupts */
								__disable_irq();
								/* ARM Cortex-M Programming Guide to Memory Barrier Instructions.*/
								__DSB();__HAL_SYSCFG_REMAPMEMORY_SYSTEMFLASH();

								/* Remap is bot visible at once. Execute some unrelated command! */
								__DSB();
								__ISB();
								JumpToApplication = (void (*)(void)) (*((uint32_t *)(0x1FFF0000 + 4)));
								/* Initialize user application's Stack Pointer */
								__set_MSP(*(__IO uint32_t*) 0x1FFF0000);
								JumpToApplication();
								break; // just in case
							case 's':
							case 'A':
							case 'P':
							case 'F':
							case 'X':
							case 'W':
							case 'M':
							case 'm':
							case 'U':
							case 'Z':
							case 'Q':
							default:
								// transmit BELL sign (\a) for error since we don't support those commands
								CDC_Transmit_FS((uint8_t*)"\a",1);
								break;
				}

				n = 0;
			}
		}
	}

	/* USER CODE END receiveUSBTaskFunction */
}

void sendCANFunction(void *argument)
{
	/* USER CODE BEGIN sendCANFunction */
	for(;;)
	{
		tx_msg_t msg;

		if (xQueueReceive(queueSendCANHandle,&msg,1000) == pdPASS)
		{
			while(HAL_CAN_GetTxMailboxesFreeLevel(&hcan1) == 0)
			{
				//No TX space, go nap nap
				ulTaskNotifyTake( pdTRUE, 1000 );
			}

			if (HAL_CAN_AddTxMessage(&hcan1, &msg.TxHeader, msg.data, &TxMailbox) != HAL_OK)
			{
				/* Transmission request Error */
				Error_Handler();
			}

		}

	}

	/* USER CODE END sendCANFunction */
}

void periodicTaskFunction(void *argument)
{
	/* USER CODE BEGIN periodicTaskFunction */
	/* Infinite loop */

	vTaskSuspend(NULL); //put the task in a suspended state by default

	for(;;)
	{
		TickType_t xLastWakeTime;
		xLastWakeTime = xTaskGetTickCount();

		for(uint8_t i = 0; i < NUMBER_OF_PERIODIC_MSG-1; i++)
		{
			periodic_msgs[i]->data[3] = periodic_counter&0xFF;
			periodic_msgs[i]->data[2] = (periodic_counter>>8)&0xFF;
			memcpy(&(periodic_msgs[i]->data[4]),&(periodic_msg_random[i]),4);
			//memcpy(&(periodic_msgs[i]->data[4]),&counter,4);
			xQueueSend(queueSendCANHandle,periodic_msgs[i],0);
		}

		if(periodic_counter % 5 == 0)
		{
			//50ms  message
			xQueueSend(queueSendCANHandle,&msg1C9,0);
			msg1C9.data[3] = periodic_counter50ms&0xFF;
			msg1C9.data[2] = (periodic_counter50ms>>8)&0xFF;
			memcpy(&(msg1C9.data[4]),&(periodic_msg_random[NUMBER_OF_PERIODIC_MSG-1]),4);
			periodic_counter50ms++;

		}
		periodic_counter++;

		usb_send_buffer[0] = 'u';
		usb_send_buffer[1] = nibble_to_ascii[(ramn_brake >> 12)&0xF];
		usb_send_buffer[2] = nibble_to_ascii[(ramn_brake >> 8)&0xF];
		usb_send_buffer[3] = nibble_to_ascii[(ramn_brake >> 4)&0xF];
		usb_send_buffer[4] = nibble_to_ascii[(ramn_brake)&0xF];

		usb_send_buffer[5] = nibble_to_ascii[(ramn_accel >> 12)&0xF];
		usb_send_buffer[6] = nibble_to_ascii[(ramn_accel >> 8)&0xF];
		usb_send_buffer[7] = nibble_to_ascii[(ramn_accel >> 4)&0xF];
		usb_send_buffer[8] = nibble_to_ascii[(ramn_accel)&0xF];

		usb_send_buffer[9] = nibble_to_ascii[(ramn_steer >> 12)&0xF];
		usb_send_buffer[10] = nibble_to_ascii[(ramn_steer >> 8)&0xF];
		usb_send_buffer[11] = nibble_to_ascii[(ramn_steer >> 4)&0xF];
		usb_send_buffer[12] = nibble_to_ascii[(ramn_steer)&0xF];

		usb_send_buffer[13] = nibble_to_ascii[(ramn_shift >> 4)&0xF];
		usb_send_buffer[14] = nibble_to_ascii[(ramn_shift)&0xF];

		usb_send_buffer[15] = nibble_to_ascii[(ramn_horn >> 4)&0xF];
		usb_send_buffer[16] = nibble_to_ascii[(ramn_horn)&0xF];

		usb_send_buffer[17] = nibble_to_ascii[(ramn_handbrake >> 4)&0xF];
		usb_send_buffer[18] = nibble_to_ascii[(ramn_handbrake)&0xF];

		usb_send_buffer[19] = '\r';
		usb_send_buffer[20] = '\0';

		while(CDC_Transmit_FS((uint8_t*)usb_send_buffer,20) == USBD_BUSY)
		{
			//taskYIELD(); // //sending over usb takes time, so yield to others
		}

		rng_counter = 0;
		if (HAL_RNG_GenerateRandomNumber_IT(&hrng) != HAL_OK)
		{
			/* RNG peripheral start-up error */
			Error_Handler();
		}
		vTaskDelayUntil( &xLastWakeTime, 10 );
	}
	/* USER CODE END periodicTaskFunction */
}

void HAL_TIM_PeriodElapsedCallback(TIM_HandleTypeDef *htim)
{
	if (htim->Instance == TIM1) {
		HAL_IncTick();
	}
}

void Error_Handler(void)
{
}

/************************ (C) COPYRIGHT STMicroelectronics *****END OF FILE****/
